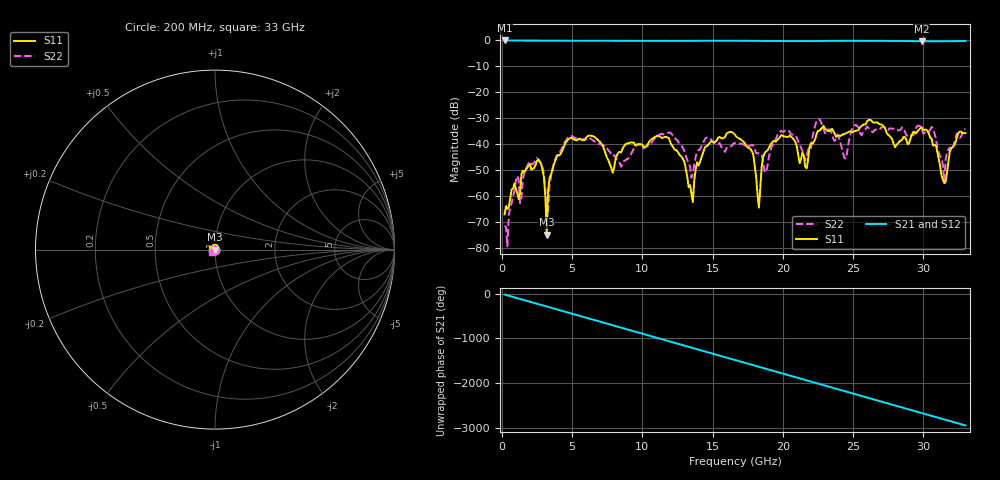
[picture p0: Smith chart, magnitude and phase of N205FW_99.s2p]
# GHZ S RI R 50
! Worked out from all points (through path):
!   329 points, 200 MHz to 33 GHz, reference 50 ohm
!   highest |S21| = -0.02 dB at 200 MHz (marker M1); lowest = -0.3 dB at 29.9 GHz (marker M2)
!   group delay of S21, straight-line fit = 248 ps
!   lowest |S11| = -74.8 dB at 3.2 GHz (marker M3), VSWR 1.00, Z = 50 - j0.00297 ohm
!   |S11| at or under -10 dB: start of sweep to end of sweep
!   |S22| runs from -79.3 to -30.3 dB; largest |S21 - S12| = 0.0022
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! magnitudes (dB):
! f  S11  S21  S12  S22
! 200 MHz  -67.1  0.0  0.0  -71.4
! 400 MHz  -65.0  0.0  0.0  -79.3
! 2.6 GHz  -46.0  -0.1  -0.1  -45.8
! 3 GHz  -52.7  -0.1  -0.1  -51.9
! 3.2 GHz  -74.8  -0.1  -0.1  -67.2
! 3.4 GHz  -53.0  -0.1  -0.1  -55.9
! 3.9 GHz  -45.0  -0.1  -0.1  -44.4
! 5.7 GHz  -38.4  -0.1  -0.1  -38.1
! 7.9 GHz  -51.0  -0.1  -0.1  -44.6
! 11.2 GHz  -37.0  -0.2  -0.2  -36.4
! 13.6 GHz  -62.3  -0.2  -0.2  -51.4
! 14.5 GHz  -40.9  -0.1  -0.1  -37.7
! 16.6 GHz  -36.4  -0.1  -0.1  -39.5
! 17.9 GHz  -43.9  -0.2  -0.2  -40.4
! 18.3 GHz  -64.4  -0.2  -0.2  -43.4
! 18.6 GHz  -45.0  -0.2  -0.2  -47.2
! 19.3 GHz  -39.0  -0.2  -0.2  -40.1
! 22.1 GHz  -39.9  -0.3  -0.3  -37.6
! 27.6 GHz  -36.8  -0.2  -0.2  -33.9
! 29.9 GHz  -33.5  -0.3  -0.3  -34.1
! 31.5 GHz  -55.1  -0.3  -0.3  -54.3
! 33 GHz  -35.7  -0.2  -0.2  -34.0
